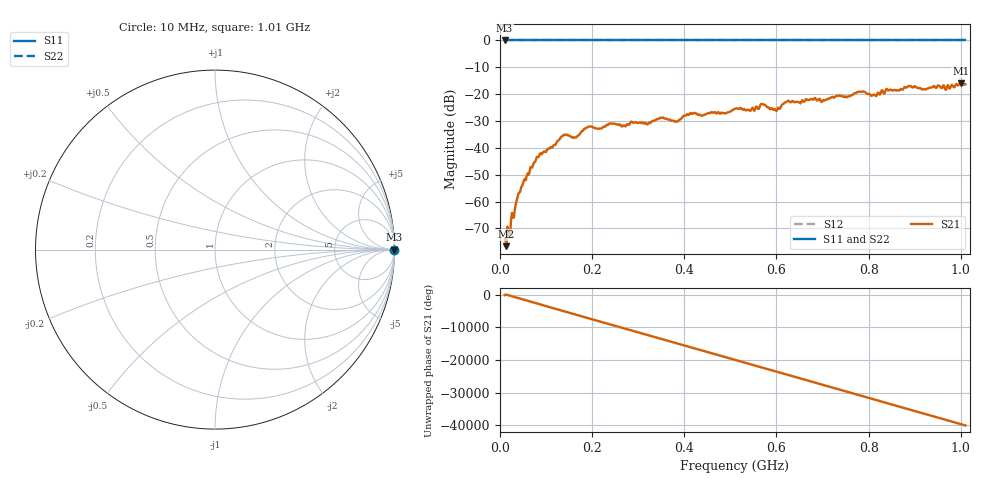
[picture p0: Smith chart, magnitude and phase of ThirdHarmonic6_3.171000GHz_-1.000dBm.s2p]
! 8/17/2025 9:33:00 AM
! C:\ANRITSUVNA\TEMP\TEMP.S2P
! CHANNEL.1
! TR.MEASUREMENT
! RAW.DATA
! RF.CORRECTION.OFF
! AVERAGING.OFF
! IF.BANDWIDTH: 5KHZ
! SWEEPTYPE:  FREQ.SWEEP(Linear)
! Reference Plane Port Info
! PORT:  PORT1  PORT2
! DISTANCE:  0  m  0  m
! TIME:  0  s  0  s
! PHASE.OFFSET:  0  deg.  0  deg.
! LOSS:  0  dB  0  dB
! REF.LOSS:  0  dB  0  dB
! REF.FREQ:  0  Hz  0  Hz
! Power Info
! POWER:  -20  dBm  -20  dBm
! EFF.POWER:  -20  dBm  -20  dBm
! SOURCE.ATTEN:  0  dB  0  dB
! TEST.ATTEN:  0  dB  0  dB
# GHZ S RI R 50.0
! FREQ.GHZ  S11RE  S11IM  S21RE  S21IM  S12RE  S12IM  S22RE  S22IM
!; PortSelection: Port_12
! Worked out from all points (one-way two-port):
!   501 points, 10 MHz to 1.01 GHz, reference 50 ohm
!   highest |S21| = -15.84 dB at 1 GHz (marker M1); lowest = -76.6 dB at 14 MHz (marker M2)
!   lowest |S11| = 0.0 dB at 10 MHz (marker M3)
!   |S11| at or under -10 dB: nowhere
!   |S22| runs from 0.0 to 0.0 dB; largest |S21 - S12| = 1.1
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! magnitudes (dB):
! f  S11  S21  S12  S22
! 10 MHz  0.0  -74.3  0.0  0.0
! 14 MHz  0.0  -76.6  0.0  0.0
! 18 MHz  0.0  -71.6  0.0  0.0
! 38 MHz  0.0  -58.4  0.0  0.0
! 50 MHz  0.0  -53.1  0.0  0.0
! 84 MHz  0.0  -43.4  0.0  0.0
! 136 MHz  0.0  -35.6  0.0  0.0
! 162 MHz  0.0  -36.1  0.0  0.0
! 178 MHz  0.0  -33.7  0.0  0.0
! 344 MHz  0.0  -29.3  0.0  0.0
! 382 MHz  0.0  -30.2  0.0  0.0
! 416 MHz  0.0  -27.3  0.0  0.0
! 510 MHz  0.0  -25.4  0.0  0.0
! 542 MHz  0.0  -26.2  0.0  0.0
! 570 MHz  0.0  -23.7  0.0  0.0
! 598 MHz  0.0  -25.9  0.0  0.0
! 622 MHz  0.0  -22.8  0.0  0.0
! 678 MHz  0.0  -22.0  0.0  0.0
! 814 MHz  0.0  -20.4  0.0  0.0
! 844 MHz  0.0  -18.6  0.0  0.0
! 1 GHz  0.0  -15.8  0.0  0.0
! 1.01 GHz  0.0  -16.3  0.0  0.0
